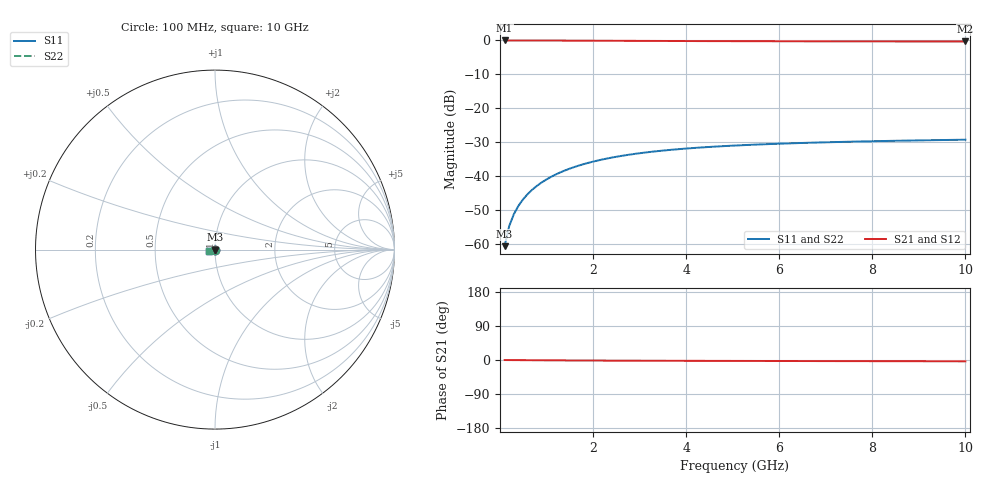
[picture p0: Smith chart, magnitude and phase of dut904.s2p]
! Touchstone file exported from HFSS 2024.1.0
!  File:  C:/UserFiles/LocalFiles/RDL_TSV_Batchsim/temp_TSV1_904_1779944614.aedt
!  Generated:  01:09:53 PM May 28, 2026
!  Design:  TSV1
!  Project:  temp_TSV1_904_1779944614
!  Setup:  Setup1
!  Solution:  Sweep
! Variables:
!  dtsv = 11.54um
!  hbump = 3um
!  htsv = 51.3um
!  lrdl = 252.1521522um
!  p = 40
!  p1 = 45.16um
!  t = 500um
!  trdl = 3um
!  wrdl = 24.89489489um
# GHz S MA R 50.000000
! Terminal data exported
! Port[1] = TSV22_T1
! Port[2] = TSV22_T2
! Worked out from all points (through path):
!   100 points, 100 MHz to 10 GHz, reference 50 ohm
!   highest |S21| = 0.00 dB at 100 MHz (marker M1); lowest = -0.3 dB at 10 GHz (marker M2)
!   lowest |S11| = -60.7 dB at 100 MHz (marker M3), VSWR 1.00, Z = 50 - j0.0925 ohm
!   |S11| at or under -10 dB: start of sweep to end of sweep
!   |S22| runs from -60.7 to -29.3 dB; largest |S21 - S12| = 3.6e-15
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0.1  0.000927 -86.3  0.9999 -0.1  0.9999 -0.1  0.000927 -86.3
! Gamma 0 0 0 0
! Port Impedance 50 0 50 0
0.2  0.001846 -90.6  0.9998 -0.2  0.9998 -0.2  0.001846 -90.6
0.3  0.002763 -93.1  0.9997 -0.3  0.9997 -0.3  0.002763 -93.1
0.4  0.003675 -95.2  0.9995 -0.3  0.9995 -0.3  0.003675 -95.2
0.5  0.00458 -97.1  0.9992 -0.4  0.9992 -0.4  0.00458 -97.1
0.6  0.005476 -98.9  0.9989 -0.5  0.9989 -0.5  0.005476 -98.9
0.7  0.006362 -100.6  0.9986 -0.6  0.9986 -0.6  0.006362 -100.6
0.8  0.007235 -102.2  0.9982 -0.7  0.9982 -0.7  0.007235 -102.2
0.9  0.008095 -103.8  0.9978 -0.7  0.9978 -0.7  0.008095 -103.8
1.1  0.009767 -106.9  0.9968 -0.9  0.9968 -0.9  0.009767 -106.9
1.4  0.01214 -111.4  0.9952 -1.1  0.9952 -1.1  0.01214 -111.4
1.6  0.01363 -114.2  0.994 -1.2  0.994 -1.2  0.01363 -114.2
1.8  0.01503 -116.9  0.9928 -1.3  0.9928 -1.3  0.01503 -116.9
2.1  0.01698 -120.7  0.991 -1.5  0.991 -1.5  0.01698 -120.7
2.5  0.01928 -125.4  0.9885 -1.7  0.9885 -1.7  0.01928 -125.4
2.9  0.02128 -129.6  0.9861 -1.8  0.9861 -1.8  0.02128 -129.6
3.4  0.0234 -134.4  0.9834 -2.0  0.9834 -2.0  0.0234 -134.4
4.2  0.02608 -140.9  0.9795 -2.2  0.9795 -2.2  0.02608 -140.9
5.1  0.02833 -146.8  0.9759 -2.5  0.9759 -2.5  0.02833 -146.8
6.7  0.0311 -155.1  0.9712 -2.8  0.9712 -2.8  0.0311 -155.1
8.4  0.03307 -161.9  0.9678 -3.1  0.9678 -3.1  0.03307 -161.9
10  0.0344 -167.2  0.9656 -3.5  0.9656 -3.5  0.0344 -167.2
